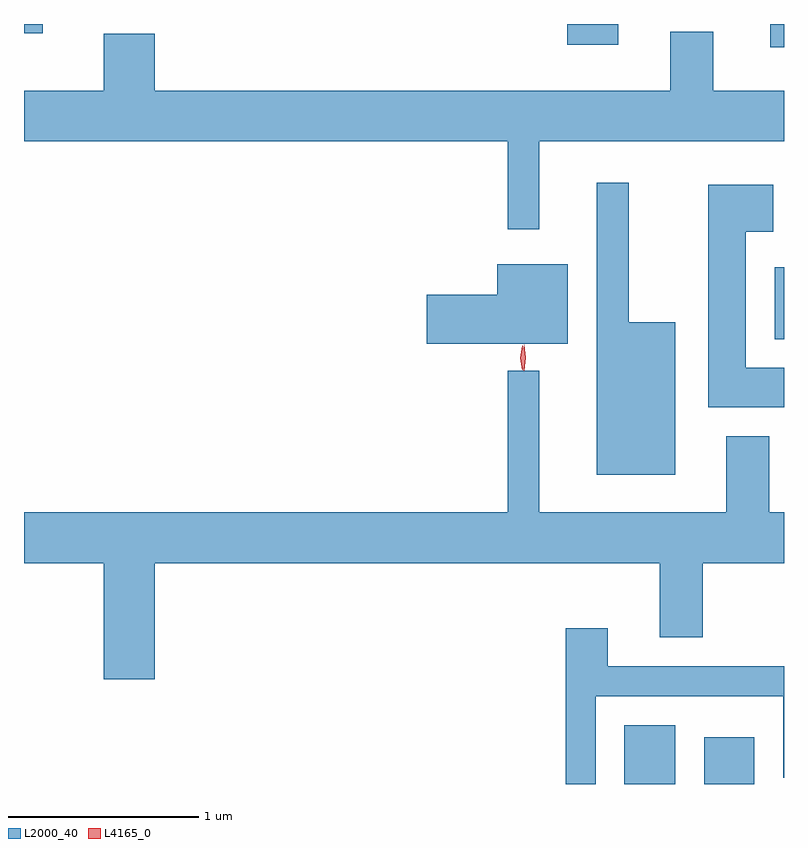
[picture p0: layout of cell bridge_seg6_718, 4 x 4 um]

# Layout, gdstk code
import gdstk
lib = gdstk.Library(unit=1e-6, precision=1e-09)
def R(c, l, rs):  # rectangles x0, y0, x1, y1
    for r in rs: c.add(gdstk.rectangle(r[:2], r[2:], *l))
def P(c, l, *ps):  # polygons
    for p in ps: c.add(gdstk.Polygon(p, *l))
L2000_40 = (2000, 40)
L4165_0 = (4165, 0)

bridge_seg6_718 = lib.new_cell('bridge_seg6_718')
R(bridge_seg6_718, L2000_40, [(497.536,1539.994,497.804,1540.304), (497.956,1539.994,498.219,1540.239), (498.326,1542.336,498.376,1542.714), (498.303,1543.871,498.376,1543.994), (497.236,1543.886,497.504,1543.994), (494.376,1543.946,494.474,1543.994)])
P(bridge_seg6_718, L2000_40, [(497.089,1543.376),(498.376,1543.376),(498.376,1543.644),(498.004,1543.644),(498.004,1543.954),(497.776,1543.954),(497.776,1543.644),(495.064,1543.644),(495.064,1543.944),(494.796,1543.944),(494.796,1543.644),(494.376,1543.644),(494.376,1543.376),(496.921,1543.376),(496.921,1542.913),(497.089,1542.913)],
  [(497.804,1542.424),(497.559,1542.424),(497.559,1543.158),(497.391,1543.158),(497.391,1541.621),(497.804,1541.621)],
  [(498.376,1542.184),(498.174,1542.184),(498.174,1542.901),(498.319,1542.901),(498.319,1543.149),(497.976,1543.149),(497.976,1541.976),(498.376,1541.976)],
  [(497.239,1542.729),(496.866,1542.729),(496.866,1542.569),(496.496,1542.569),(496.496,1542.311),(497.239,1542.311)],
  [(497.089,1542.168),(496.921,1542.168),(496.921,1541.424),(494.376,1541.424),(494.376,1541.156),(494.796,1541.156),(494.796,1540.546),(495.064,1540.546),(495.064,1541.156),(497.721,1541.156),(497.721,1540.766),(497.949,1540.766),(497.949,1541.156),(498.376,1541.156),(498.376,1541.424),(498.299,1541.424),(498.299,1541.824),(498.071,1541.824),(498.071,1541.424),(497.089,1541.424)],
  [(497.384,1540.456),(498.371,1540.456),(498.371,1540.028),(498.376,1540.028),(498.376,1540.614),(497.449,1540.614),(497.449,1540.814),(497.226,1540.814),(497.226,1539.994),(497.384,1539.994)])
P(bridge_seg6_718, L4165_0, [(497.007,1542.17),(497.007,1542.17),(496.998,1542.238),(497.009,1542.305),(497.009,1542.306),(497.01,1542.305),(497.018,1542.238),(497.008,1542.17)],
  [(497,1542.173),(496.999,1542.174),(496.989,1542.236),(496.999,1542.3),(496.999,1542.3),(497,1542.3),(497.009,1542.236),(497,1542.174)])

lib.write_gds('bridge_seg6_718.gds')
